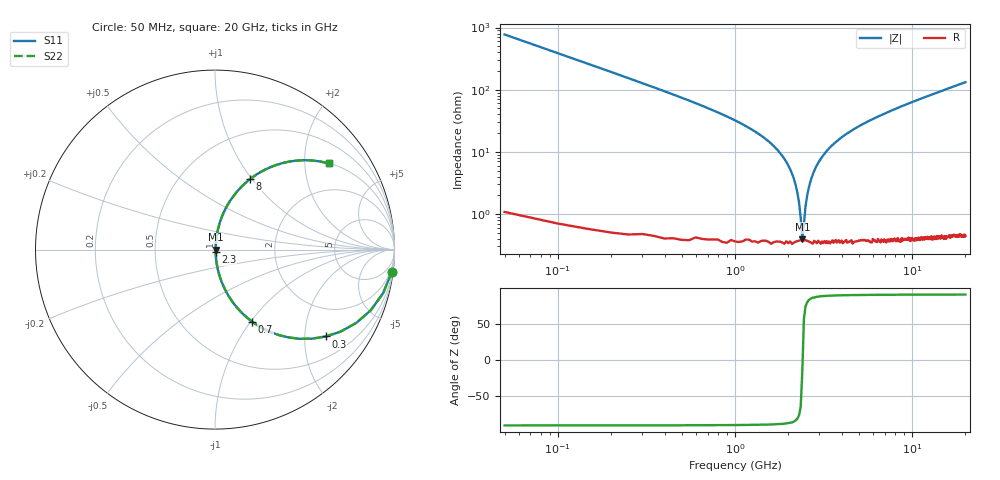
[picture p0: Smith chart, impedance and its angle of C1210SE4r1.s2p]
! AVX Thin Film Operation		Date: April 2012
! Description: Accu-P® Series, Thin Film, SMD, RF Capacitor
! Part Number: 12101J4R1ABTTR
!	100	MHz	-	20.05	GHz
!	Serial	Measurements
#	MHZ	S	MA	R	50
!	S11	S21	S12	S22
!	dB	Phase	dB	Phase	dB	Phase	dB	Phase
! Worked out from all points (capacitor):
!   400 points, 50 MHz to 20 GHz, reference 50 ohm
!   read as one part in series: C = 4.1 pF near 150 MHz
!   lowest |Z| = 390 mohm at 2.4 GHz (marker M1)
!   series resonance near 2.407 GHz, so ESL is about 1.1 nH
!   S11 on the Smith chart (normalised r, x): 50 MHz: 1, -16; 300 MHz: 1.01, -2.55; 700 MHz: 1.01, -1.01; 2.3 GHz: 1.01, -0.03; 8 GHz: 1.01, +0.98; 20 GHz: 1.01, +2.64
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50  0.992 -7.3  0.128 82.6  0.128 82.6  0.992 -7.3
100  0.968 -14.5  0.25 75.4  0.25 75.4  0.968 -14.5
150  0.932 -21.2  0.361 68.7  0.361 68.7  0.932 -21.2
300  0.785 -38.1  0.616 51.7  0.616 51.7  0.785 -38.1
700  0.451 -62.7  0.889 26.8  0.889 26.8  0.451 -62.7
1150  0.251 -74.7  0.964 14.6  0.964 14.6  0.251 -74.7
1900  0.077 -83.0  0.994 4.4  0.994 4.4  0.077 -83.0
2150  0.037 -82.4  0.996 2.1  0.996 2.1  0.037 -82.4
2300  0.015 -75.7  0.996 0.8  0.996 0.8  0.015 -75.7
2350  0.008506 -65.1  0.996 0.4  0.996 0.4  0.008506 -65.1
2400  0.00365 -15.5  0.996 0.1  0.996 0.1  0.00365 -15.5
2500  0.013 73.2  0.996 -0.7  0.996 -0.7  0.013 73.2
2700  0.037 82.4  0.996 -2.1  0.996 -2.1  0.037 82.4
2950  0.066 83.2  0.994 -3.8  0.994 -3.8  0.066 83.2
3400  0.113 81.8  0.99 -6.5  0.99 -6.5  0.113 81.8
4650  0.222 76.3  0.972 -12.8  0.972 -12.8  0.222 76.3
6700  0.363 68.2  0.928 -21.3  0.928 -21.3  0.363 68.2
8000  0.437 63.7  0.896 -25.9  0.896 -25.9  0.437 63.7
10050  0.534 57.4  0.842 -32.3  0.842 -32.3  0.534 57.4
13350  0.653 49.0  0.754 -40.7  0.754 -40.7  0.653 49.0
16700  0.737 42.3  0.673 -47.5  0.673 -47.5  0.737 42.3
20000  0.796 37.1  0.603 -52.7  0.603 -52.7  0.796 37.1
